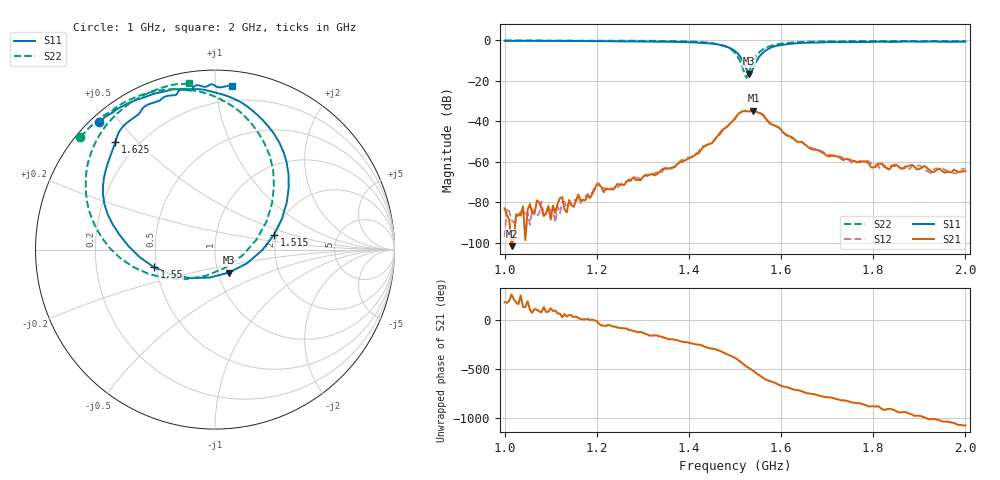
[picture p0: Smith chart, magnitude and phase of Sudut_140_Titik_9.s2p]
# Hz S RI R 50
! CMT, C1220, 16058040, 17.2.0/1
! Date: 14/08/2018 11:56:18
! Data: Format (Calibration Info)
! Freq  S11: Re/Im (F2)  S21: Re/Im (F2)  S12: Re/Im (F2)  S22: Re/Im (F2)
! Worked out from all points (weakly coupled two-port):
!   201 points, 1 GHz to 2 GHz, reference 50 ohm
!   highest |S21| = -34.86 dB at 1.54 GHz (marker M1); lowest = -101.5 dB at 1.015 GHz (marker M2)
!   lowest |S11| = -16.5 dB at 1.53 GHz (marker M3), VSWR 1.35, Z = 56.4 - j14.8 ohm
!   |S11| at or under -10 dB: 1.516 GHz to 1.548 GHz (31.28 MHz wide, 2.04 % of centre)
!   |S22| runs from -18.7 to -0.2 dB; largest |S21 - S12| = 0.0008
!   S11 on the Smith chart (normalised r, x): 1 GHz: 0.02, +0.44; 1.515 GHz: 1.93, +0.36; 1.55 GHz: 0.48, -0.11; 1.625 GHz: 0.12, +0.43; 2 GHz: 0.10, +1.10
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1e9  -0.6439 0.7112  -7.13e-05 1.38e-06  5.49e-06 -1.32e-05  -0.7502 0.627
1.015e9  -0.6265 0.7244  -1.96e-06 -8.15e-06  -3.68e-05 2.73e-06  -0.7394 0.6386
1.17e9  -0.4719 0.8204  0.000116 5.88e-06  0.000109 4.92e-05  -0.6123 0.7523
1.185e9  -0.4469 0.8306  0.000128 -8.02e-06  0.000141 -1.59e-05  -0.595 0.7615
1.2e9  -0.429 0.8363  0.000275 -6.82e-05  0.000269 -9.26e-05  -0.5781 0.7656
1.215e9  -0.4162 0.8409  8.65e-05 -0.000156  0.000138 -0.00018  -0.5713 0.7738
1.335e9  -0.2144 0.8934  -0.000535 -9.31e-05  -0.000544 -5e-05  -0.3957 0.8661
1.45e9  0.1804 0.7969  0.00118 0.00263  0.00138 0.00261  0.0272 0.8396
1.5e9  0.4106 0.3438  0.0106 -0.00566  0.0099 -0.00538  0.3284 0.3507
1.515e9  0.3277 0.0819  0.00271 -0.017  0.00314 -0.017  0.231 0.0552
1.525e9  0.1774 -0.0768  -0.00805 -0.0156  -0.00804 -0.0159  0.0577 -0.1009
1.53e9  0.0778 -0.1281  -0.0114 -0.0131  -0.0116 -0.0132  -0.051 -0.1463
1.54e9  -0.1374 -0.1592  -0.0173 -0.00527  -0.0171 -0.00525  -0.2743 -0.1602
1.55e9  -0.3395 -0.0989  -0.0156 0.00482  -0.0158 0.00425  -0.4573 -0.0959
1.58e9  -0.6163 0.2537  9.79e-05 0.00825  0.000484 0.00853  -0.7018 0.2185
1.625e9  -0.5549 0.599  0.00384 0.000872  0.00364 0.000943  -0.6959 0.5225
1.67e9  -0.4411 0.7425  0.00159 -0.00124  0.0017 -0.00131  -0.6201 0.6736
1.755e9  -0.2804 0.8513  -0.00061 -0.000872  -0.000527 -0.000792  -0.4835 0.8085
1.835e9  -0.1445 0.8863  -0.000644 9.51e-05  -0.000753 0.000336  -0.37 0.8734
1.9e9  -0.0554 0.9067  -0.000119 0.000657  -6.79e-05 0.000821  -0.2786 0.9077
1.925e9  -0.0232 0.9206  0.000239 0.00054  0.000163 0.000501  -0.2444 0.9165
2e9  0.094 0.9112  0.000589 2.01e-05  0.000672 -6.84e-05  -0.1467 0.9309
